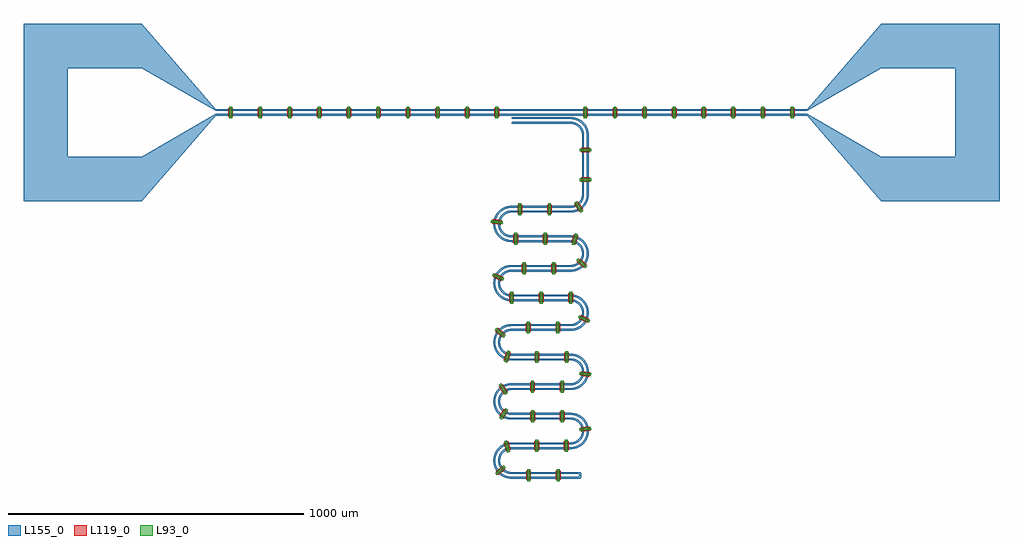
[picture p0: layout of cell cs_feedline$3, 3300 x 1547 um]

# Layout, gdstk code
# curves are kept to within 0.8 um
from math import pi, radians
import gdstk
lib = gdstk.Library(unit=1e-6, precision=1e-09)
def R(c, l, rs):  # rectangles x0, y0, x1, y1
    for r in rs: c.add(gdstk.rectangle(r[:2], r[2:], *l))
def P(c, l, *ps):  # polygons
    for p in ps: c.add(gdstk.Polygon(p, *l))
L93_0 = (93, 0)
L119_0 = (119, 0)
L155_0 = (155, 0)

bridge = lib.new_cell('bridge')
R(bridge, L93_0, [(-5,-20,5,20)])
R(bridge, L119_0, [(-8,-15,8,15)])

overlay_10 = lib.new_cell('overlay$10')
overlay_10.add(gdstk.Reference(bridge, (2450,0)))
overlay_10.add(gdstk.Reference(bridge, (2350,0)))
overlay_10.add(gdstk.Reference(bridge, (2250,0)))
overlay_10.add(gdstk.Reference(bridge, (2150,0)))
overlay_10.add(gdstk.Reference(bridge, (2050,0)))
overlay_10.add(gdstk.Reference(bridge, (1950,0)))
overlay_10.add(gdstk.Reference(bridge, (1850,0)))
overlay_10.add(gdstk.Reference(bridge, (1750,0)))

overlay_11 = lib.new_cell('overlay$11')
overlay_11.add(gdstk.Reference(bridge, (157.743,-1200)))
overlay_11.add(gdstk.Reference(bridge, (57.743,-1200)))
overlay_11.add(gdstk.Reference(bridge, (-37.403,-1183.182), rotation=radians(-48.4224)))
overlay_11.add(gdstk.Reference(bridge, (-14.607,-1102.181), rotation=radians(-163.014)))
overlay_11.add(gdstk.Reference(bridge, (85.177,-1100), rotation=pi))
overlay_11.add(gdstk.Reference(bridge, (185.177,-1100), rotation=pi))
overlay_11.add(gdstk.Reference(bridge, (249.56,-1043.382), rotation=radians(-82.3945)))
overlay_11.add(gdstk.Reference(bridge, (171.903,-1000)))
overlay_11.add(gdstk.Reference(bridge, (71.903,-1000)))
overlay_11.add(gdstk.Reference(bridge, (-26.642,-992.311), rotation=radians(-32.1971)))
overlay_11.add(gdstk.Reference(bridge, (-27.386,-908.167), rotation=radians(-146.7886)))
overlay_11.add(gdstk.Reference(bridge, (71.018,-900), rotation=pi))
overlay_11.add(gdstk.Reference(bridge, (171.018,-900), rotation=pi))
overlay_11.add(gdstk.Reference(bridge, (249.435,-857.494), rotation=radians(-98.6198)))
overlay_11.add(gdstk.Reference(bridge, (186.062,-800)))
overlay_11.add(gdstk.Reference(bridge, (86.062,-800)))
overlay_11.add(gdstk.Reference(bridge, (-13.758,-798.07), rotation=radians(-15.9717)))
overlay_11.add(gdstk.Reference(bridge, (-37.984,-717.486), rotation=radians(-130.5633)))
overlay_11.add(gdstk.Reference(bridge, (56.858,-700), rotation=pi))
overlay_11.add(gdstk.Reference(bridge, (156.858,-700), rotation=pi))
overlay_11.add(gdstk.Reference(bridge, (245.372,-671.008), rotation=radians(-114.8451)))
overlay_11.add(gdstk.Reference(bridge, (200.221,-600), rotation=radians(-0.2536)))
overlay_11.add(gdstk.Reference(bridge, (100.221,-600)))
overlay_11.add(gdstk.Reference(bridge, (0.221,-600)))
overlay_11.add(gdstk.Reference(bridge, (-45.557,-529.394), rotation=radians(-114.338)))
overlay_11.add(gdstk.Reference(bridge, (42.699,-500), rotation=pi))
overlay_11.add(gdstk.Reference(bridge, (142.699,-500), rotation=pi))
overlay_11.add(gdstk.Reference(bridge, (237.695,-482.849), rotation=radians(-131.0705)))
overlay_11.add(gdstk.Reference(bridge, (214.183,-402.054), rotation=radians(-16.4789)))
overlay_11.add(gdstk.Reference(bridge, (114.381,-400)))
overlay_11.add(gdstk.Reference(bridge, (14.381,-400)))
overlay_11.add(gdstk.Reference(bridge, (-49.5,-342.944), rotation=radians(-98.1127)))
overlay_11.add(gdstk.Reference(bridge, (28.54,-300), rotation=pi))
overlay_11.add(gdstk.Reference(bridge, (128.54,-300), rotation=pi))
overlay_11.add(gdstk.Reference(bridge, (227.015,-292.074), rotation=radians(-147.2958)))
overlay_11.add(gdstk.Reference(bridge, (250,-200), rotation=3*pi/2))
overlay_11.add(gdstk.Reference(bridge, (250,-100), rotation=3*pi/2))

cs_resonator_2 = lib.new_cell('cs_resonator$2')
R(cs_resonator_2, L155_0, [(0,-1211,224.204,-1205), (0,-1195,224.204,-1189), (0,-1111,200,-1105), (0,-1095,200,-1089), (0,-1011,200,-1005), (0,-995,200,-989), (0,-911,200,-905), (0,-895,200,-889), (0,-811,200,-805), (0,-795,200,-789), (0,-711,200,-705), (0,-695,200,-689), (0,-611,200,-605), (0,-595,200,-589), (0,-511,200,-505), (0,-495,200,-489), (0,-411,200,-405), (0,-395,200,-389), (0,-311,200,-305), (0,-295,200,-289), (239,-250,245,-50), (255,-250,261,-50), (3,-11,200,-5), (3,5,200,11)])
P(cs_resonator_2, L155_0, [(0,8),(0.243,6.817),(0.826,5.933),(1.817,5.243),(3,5),(3,11),(1.817,10.757),(0.933,10.174),(0.243,9.183)],
  [(0,-8),(0.243,-9.183),(0.826,-10.067),(1.817,-10.757),(3,-11),(3,-5),(1.817,-5.243),(0.933,-5.826),(0.243,-6.817)],
  [(200,-11),(206.627,-11.567),(213.478,-13.403),(219.883,-16.449),(225.631,-20.605),(231.342,-26.79),(235.592,-34.056),(238.184,-42.065),(239,-50),(245,-50),(244.059,-40.844),(241.068,-31.603),(236.163,-23.219),(229.574,-16.083),(219.327,-9.362),(207.646,-5.654),(200,-5)],
  [(200,5),(209.961,4.09),(219.593,1.392),(228.577,-3.007),(236.616,-8.96),(244.2,-17.268),(250.194,-27.515),(253.85,-38.81),(255,-50),(261,-50),(259.579,-36.91),(255.67,-25.062),(249.432,-14.258),(241.126,-4.948),(228.679,3.838),(214.443,9.266),(200,11)],
  [(239,-250),(238.433,-256.627),(236.597,-263.478),(233.551,-269.883),(229.395,-275.631),(223.21,-281.342),(215.944,-285.592),(207.935,-288.184),(200,-289),(200,-295),(209.156,-294.059),(218.397,-291.068),(226.781,-286.163),(233.917,-279.574),(240.638,-269.327),(244.346,-257.646),(245,-250)],
  [(255,-250),(254.09,-259.961),(251.392,-269.593),(246.993,-278.577),(241.04,-286.616),(232.732,-294.2),(222.485,-300.194),(211.19,-303.85),(200,-305),(200,-311),(213.09,-309.579),(224.938,-305.67),(235.742,-299.432),(245.052,-291.126),(253.838,-278.679),(259.266,-264.443),(261,-250)],
  [(0,-289),(-12.455,-290.285),(-23.745,-293.811),(-34.143,-299.45),(-43.257,-306.99),(-50.744,-316.146),(-56.323,-326.576),(-59.785,-337.886),(-60.999,-349.652),(-59.92,-361.43),(-56.587,-372.779),(-50.744,-383.854),(-43.257,-393.01),(-34.143,-400.55),(-23.745,-406.189),(-12.455,-409.715),(0,-411),(0,-405),(-11.23,-403.841),(-21.987,-400.414),(-32.328,-394.496),(-40.733,-386.958),(-46.772,-378.938),(-51.253,-369.954),(-54.026,-360.306),(-54.999,-350.314),(-54.026,-339.694),(-51.253,-330.046),(-46.772,-321.062),(-40.733,-313.042),(-32.328,-305.504),(-21.987,-299.586),(-11.23,-296.159),(0,-295)],
  [(0,-305),(-8.685,-305.846),(-17.517,-308.549),(-25.187,-312.709),(-31.911,-318.271),(-37.434,-325.026),(-41.55,-332.72),(-44.104,-341.063),(-44.999,-349.743),(-44.203,-358.432),(-41.745,-366.804),(-37.717,-374.545),(-31.911,-381.729),(-25.187,-387.291),(-17.517,-391.451),(-8.685,-394.154),(0,-395),(0,-389),(-8.399,-388.085),(-16.404,-385.383),(-23.283,-381.288),(-29.474,-375.54),(-33.626,-369.757),(-36.502,-363.733),(-38.39,-356.87),(-38.999,-350.223),(-38.39,-343.13),(-36.502,-336.267),(-33.626,-330.243),(-29.474,-324.46),(-23.283,-318.712),(-16.404,-314.617),(-8.399,-311.915),(0,-311)],
  [(200,-411),(207.527,-411.733),(215.182,-414.076),(221.829,-417.681),(227.656,-422.502),(232.443,-428.356),(236.01,-435.024),(238.223,-442.255),(238.999,-449.777),(238.39,-456.87),(236.502,-463.733),(233.626,-469.757),(229.474,-475.54),(223.283,-481.288),(216.404,-485.383),(208.399,-488.085),(200,-489),(200,-495),(208.685,-494.154),(217.517,-491.451),(225.187,-487.291),(231.911,-481.729),(237.434,-474.974),(241.55,-467.28),(244.104,-458.937),(244.999,-450.257),(244.104,-441.063),(241.144,-431.775),(236.254,-423.342),(229.663,-416.16),(219.392,-409.393),(207.673,-405.659),(200,-405)],
  [(200,-395),(210.614,-396.034),(221.41,-399.338),(230.785,-404.422),(239.002,-411.22),(245.753,-419.476),(250.783,-428.88),(253.905,-439.078),(254.999,-449.686),(254.026,-460.306),(251.253,-469.954),(246.772,-478.938),(240.733,-486.958),(232.328,-494.496),(221.987,-500.414),(211.23,-503.841),(200,-505),(200,-511),(212.455,-509.715),(223.745,-506.189),(234.143,-500.55),(243.257,-493.01),(250.744,-483.854),(256.323,-473.424),(259.785,-462.114),(260.999,-450.348),(259.785,-437.886),(256.052,-425.934),(249.957,-414.996),(241.247,-405.059),(228.774,-396.213),(214.494,-390.747),(200,-389)],
  [(0,-489),(-12.455,-490.285),(-23.745,-493.811),(-34.143,-499.45),(-43.257,-506.99),(-50.744,-516.146),(-56.323,-526.576),(-59.785,-537.886),(-60.999,-549.652),(-59.92,-561.43),(-56.587,-572.779),(-50.744,-583.854),(-43.257,-593.01),(-34.143,-600.55),(-23.745,-606.189),(-12.455,-609.715),(0,-611),(0,-605),(-11.23,-603.841),(-21.987,-600.414),(-32.328,-594.496),(-40.733,-586.958),(-46.772,-578.938),(-51.253,-569.954),(-54.026,-560.306),(-54.999,-550.314),(-54.026,-539.694),(-51.253,-530.046),(-46.772,-521.062),(-40.733,-513.042),(-32.328,-505.504),(-21.987,-499.586),(-11.23,-496.159),(0,-495)],
  [(0,-505),(-8.685,-505.846),(-17.517,-508.549),(-25.187,-512.709),(-31.911,-518.271),(-37.434,-525.026),(-41.55,-532.72),(-44.104,-541.063),(-44.999,-549.743),(-44.203,-558.432),(-41.745,-566.804),(-37.717,-574.545),(-31.911,-581.729),(-25.187,-587.291),(-17.517,-591.451),(-8.685,-594.154),(0,-595),(0,-589),(-8.399,-588.085),(-16.404,-585.383),(-23.283,-581.288),(-29.474,-575.54),(-33.626,-569.757),(-36.502,-563.733),(-38.39,-556.87),(-38.999,-550.223),(-38.39,-543.13),(-36.502,-536.267),(-33.626,-530.243),(-29.474,-524.46),(-23.283,-518.712),(-16.404,-514.617),(-8.399,-511.915),(0,-511)],
  [(200,-611),(207.527,-611.733),(215.182,-614.076),(221.829,-617.681),(227.656,-622.502),(232.443,-628.356),(236.01,-635.024),(238.223,-642.255),(238.999,-649.777),(238.39,-656.87),(236.502,-663.733),(233.626,-669.757),(229.474,-675.54),(223.283,-681.288),(216.404,-685.383),(208.399,-688.085),(200,-689),(200,-695),(208.685,-694.154),(217.517,-691.451),(225.187,-687.291),(231.911,-681.729),(237.434,-674.974),(241.55,-667.28),(244.104,-658.937),(244.999,-650.257),(244.104,-641.063),(241.144,-631.775),(236.254,-623.342),(229.663,-616.16),(219.392,-609.393),(207.673,-605.659),(200,-605)],
  [(200,-595),(210.614,-596.034),(221.41,-599.338),(230.785,-604.422),(239.002,-611.22),(245.753,-619.476),(250.783,-628.88),(253.905,-639.078),(254.999,-649.686),(254.026,-660.306),(251.253,-669.954),(246.772,-678.938),(240.733,-686.958),(232.328,-694.496),(221.987,-700.414),(211.23,-703.841),(200,-705),(200,-711),(212.455,-709.715),(223.745,-706.189),(234.143,-700.55),(243.257,-693.01),(250.744,-683.854),(256.323,-673.424),(259.785,-662.114),(260.999,-650.348),(259.785,-637.886),(256.052,-625.934),(249.957,-614.996),(241.247,-605.059),(228.774,-596.213),(214.494,-590.747),(200,-589)],
  [(0,-689),(-12.455,-690.285),(-23.745,-693.811),(-34.143,-699.45),(-43.257,-706.99),(-50.744,-716.146),(-56.323,-726.576),(-59.785,-737.886),(-60.999,-749.652),(-59.92,-761.43),(-56.587,-772.779),(-50.744,-783.854),(-43.257,-793.01),(-34.143,-800.55),(-23.745,-806.189),(-12.455,-809.715),(0,-811),(0,-805),(-11.23,-803.841),(-21.987,-800.414),(-32.328,-794.496),(-40.733,-786.958),(-46.772,-778.938),(-51.253,-769.954),(-54.026,-760.306),(-54.999,-750.314),(-54.026,-739.694),(-51.253,-730.046),(-46.772,-721.062),(-40.733,-713.042),(-32.328,-705.504),(-21.987,-699.586),(-11.23,-696.159),(0,-695)],
  [(0,-705),(-8.685,-705.846),(-17.517,-708.549),(-25.187,-712.709),(-31.911,-718.271),(-37.434,-725.026),(-41.55,-732.72),(-44.104,-741.063),(-44.999,-749.743),(-44.203,-758.432),(-41.745,-766.804),(-37.717,-774.545),(-31.911,-781.729),(-25.187,-787.291),(-17.517,-791.451),(-8.685,-794.154),(0,-795),(0,-789),(-8.399,-788.085),(-16.404,-785.383),(-23.283,-781.288),(-29.474,-775.54),(-33.626,-769.757),(-36.502,-763.733),(-38.39,-756.87),(-38.999,-750.223),(-38.39,-743.13),(-36.502,-736.267),(-33.626,-730.243),(-29.474,-724.46),(-23.283,-718.712),(-16.404,-714.617),(-8.399,-711.915),(0,-711)],
  [(200,-811),(207.527,-811.733),(215.182,-814.076),(221.829,-817.681),(227.656,-822.502),(232.443,-828.356),(236.01,-835.024),(238.223,-842.255),(238.999,-849.777),(238.39,-856.87),(236.502,-863.733),(233.626,-869.757),(229.474,-875.54),(223.283,-881.288),(216.404,-885.383),(208.399,-888.085),(200,-889),(200,-895),(208.685,-894.154),(217.517,-891.451),(225.187,-887.291),(231.911,-881.729),(237.434,-874.974),(241.55,-867.28),(244.104,-858.937),(244.999,-850.257),(244.104,-841.063),(241.144,-831.775),(236.254,-823.342),(229.663,-816.16),(219.392,-809.393),(207.673,-805.659),(200,-805)],
  [(200,-795),(210.614,-796.034),(221.41,-799.338),(230.785,-804.422),(239.002,-811.22),(245.753,-819.476),(250.783,-828.88),(253.905,-839.078),(254.999,-849.686),(254.026,-860.306),(251.253,-869.954),(246.772,-878.938),(240.733,-886.958),(232.328,-894.496),(221.987,-900.414),(211.23,-903.841),(200,-905),(200,-911),(212.455,-909.715),(223.745,-906.189),(234.143,-900.55),(243.257,-893.01),(250.744,-883.854),(256.323,-873.424),(259.785,-862.114),(260.999,-850.348),(259.785,-837.886),(256.052,-825.934),(249.957,-814.996),(241.247,-805.059),(228.774,-796.213),(214.494,-790.747),(200,-789)],
  [(0,-889),(-12.455,-890.285),(-23.745,-893.811),(-34.143,-899.45),(-43.257,-906.99),(-50.744,-916.146),(-56.323,-926.576),(-59.785,-937.886),(-60.999,-949.652),(-59.92,-961.43),(-56.587,-972.779),(-50.744,-983.854),(-43.257,-993.01),(-34.143,-1000.55),(-23.745,-1006.189),(-12.455,-1009.715),(0,-1011),(0,-1005),(-11.23,-1003.841),(-21.987,-1000.414),(-32.328,-994.496),(-40.733,-986.958),(-46.772,-978.938),(-51.253,-969.954),(-54.026,-960.306),(-54.999,-950.314),(-54.026,-939.694),(-51.253,-930.046),(-46.772,-921.062),(-40.733,-913.042),(-32.328,-905.504),(-21.987,-899.586),(-11.23,-896.159),(0,-895)],
  [(0,-905),(-8.685,-905.846),(-17.517,-908.549),(-25.187,-912.709),(-31.911,-918.271),(-37.434,-925.026),(-41.55,-932.72),(-44.104,-941.063),(-44.999,-949.743),(-44.203,-958.432),(-41.745,-966.804),(-37.717,-974.545),(-31.911,-981.729),(-25.187,-987.291),(-17.517,-991.451),(-8.685,-994.154),(0,-995),(0,-989),(-8.399,-988.085),(-16.404,-985.383),(-23.283,-981.288),(-29.474,-975.54),(-33.626,-969.757),(-36.502,-963.733),(-38.39,-956.87),(-38.999,-950.223),(-38.39,-943.13),(-36.502,-936.267),(-33.626,-930.243),(-29.474,-924.46),(-23.283,-918.712),(-16.404,-914.617),(-8.399,-911.915),(0,-911)],
  [(200,-1011),(207.527,-1011.733),(215.182,-1014.076),(221.829,-1017.681),(227.656,-1022.502),(232.443,-1028.356),(236.01,-1035.024),(238.223,-1042.255),(238.999,-1049.777),(238.39,-1056.87),(236.502,-1063.733),(233.626,-1069.757),(229.474,-1075.54),(223.283,-1081.288),(216.404,-1085.383),(208.399,-1088.085),(200,-1089),(200,-1095),(208.685,-1094.154),(217.517,-1091.451),(225.187,-1087.291),(231.911,-1081.729),(237.434,-1074.974),(241.55,-1067.28),(244.104,-1058.937),(244.999,-1050.257),(244.104,-1041.063),(241.144,-1031.775),(236.254,-1023.342),(229.663,-1016.16),(219.392,-1009.393),(207.673,-1005.659),(200,-1005)],
  [(200,-995),(210.614,-996.034),(221.41,-999.338),(230.785,-1004.422),(239.002,-1011.22),(245.753,-1019.476),(250.783,-1028.88),(253.905,-1039.078),(254.999,-1049.686),(254.026,-1060.306),(251.253,-1069.954),(246.772,-1078.938),(240.733,-1086.958),(232.328,-1094.496),(221.987,-1100.414),(211.23,-1103.841),(200,-1105),(200,-1111),(212.455,-1109.715),(223.745,-1106.189),(234.143,-1100.55),(243.257,-1093.01),(250.744,-1083.854),(256.323,-1073.424),(259.785,-1062.114),(260.999,-1050.348),(259.785,-1037.886),(256.052,-1025.934),(249.957,-1014.996),(241.247,-1005.059),(228.774,-996.213),(214.494,-990.747),(200,-989)],
  [(0,-1089),(-12.455,-1090.285),(-23.745,-1093.811),(-34.143,-1099.45),(-43.257,-1106.99),(-50.744,-1116.146),(-56.323,-1126.576),(-59.785,-1137.886),(-60.999,-1149.652),(-59.92,-1161.43),(-56.587,-1172.779),(-50.744,-1183.854),(-43.257,-1193.01),(-34.143,-1200.55),(-23.745,-1206.189),(-12.455,-1209.715),(0,-1211),(0,-1205),(-11.23,-1203.841),(-21.987,-1200.414),(-32.328,-1194.496),(-40.733,-1186.958),(-46.772,-1178.938),(-51.253,-1169.954),(-54.026,-1160.306),(-54.999,-1150.314),(-54.026,-1139.694),(-51.253,-1130.046),(-46.772,-1121.062),(-40.733,-1113.042),(-32.328,-1105.504),(-21.987,-1099.586),(-11.23,-1096.159),(0,-1095)],
  [(0,-1105),(-8.685,-1105.846),(-17.517,-1108.549),(-25.187,-1112.709),(-31.911,-1118.271),(-37.434,-1125.026),(-41.55,-1132.72),(-44.104,-1141.063),(-44.999,-1149.743),(-44.203,-1158.432),(-41.745,-1166.804),(-37.717,-1174.545),(-31.911,-1181.729),(-25.187,-1187.291),(-17.517,-1191.451),(-8.685,-1194.154),(0,-1195),(0,-1189),(-8.399,-1188.085),(-16.404,-1185.383),(-23.283,-1181.288),(-29.474,-1175.54),(-33.626,-1169.757),(-36.502,-1163.733),(-38.39,-1156.87),(-38.999,-1150.223),(-38.39,-1143.13),(-36.502,-1136.267),(-33.626,-1130.243),(-29.474,-1124.46),(-23.283,-1118.712),(-16.404,-1114.617),(-8.399,-1111.915),(0,-1111)],
  [(224.204,-1189),(224.204,-1195),(227.739,-1196.464),(229.204,-1200),(227.739,-1203.536),(224.204,-1205),(224.204,-1211),(231.934,-1210.691),(234.006,-1209.247),(235.142,-1206.782),(234.895,-1192.269),(231.749,-1189.245)])
cs_resonator_2.add(gdstk.Reference(overlay_11, (0,0)))

overlay_9 = lib.new_cell('overlay$9')
overlay_9.add(gdstk.Reference(bridge, (1450,0)))
overlay_9.add(gdstk.Reference(bridge, (1350,0)))
overlay_9.add(gdstk.Reference(bridge, (1250,0)))
overlay_9.add(gdstk.Reference(bridge, (1150,0)))
overlay_9.add(gdstk.Reference(bridge, (1050,0)))
overlay_9.add(gdstk.Reference(bridge, (950,0)))
overlay_9.add(gdstk.Reference(bridge, (850,0)))
overlay_9.add(gdstk.Reference(bridge, (750,0)))
overlay_9.add(gdstk.Reference(bridge, (650,0)))
overlay_9.add(gdstk.Reference(bridge, (550,0)))

cs_feedline_3 = lib.new_cell('cs_feedline$3')
R(cs_feedline_3, L155_0, [(0,-300,250,-150), (2750,-300,3000,-150), (500,-11,1500,-5), (1500,-11,1700,-5), (1700,-11,2500,-5), (500,5,1500,11), (1500,5,1700,11), (1700,5,2500,11), (0,150,250,300), (2750,150,3000,300)])
P(cs_feedline_3, L155_0, [(0,-300),(0,-150),(0,150),(0,300),(-150,300),(-150,-300)],
  [(250,150),(500,5),(500,11),(250,300)],
  [(250,-300),(500,-11),(500,-5),(250,-150)],
  [(2500,5),(2750,150),(2750,300),(2500,11)],
  [(2500,-11),(2750,-300),(2750,-150),(2500,-5)],
  [(3000,300),(3000,150),(3000,-150),(3000,-300),(3150,-300),(3150,300)])
cs_feedline_3.add(gdstk.Reference(overlay_10, (0,0)))
cs_feedline_3.add(gdstk.Reference(cs_resonator_2, (1500,-27)))
cs_feedline_3.add(gdstk.Reference(overlay_9, (0,0)))

lib.write_gds('cs_feedline_3.gds')
